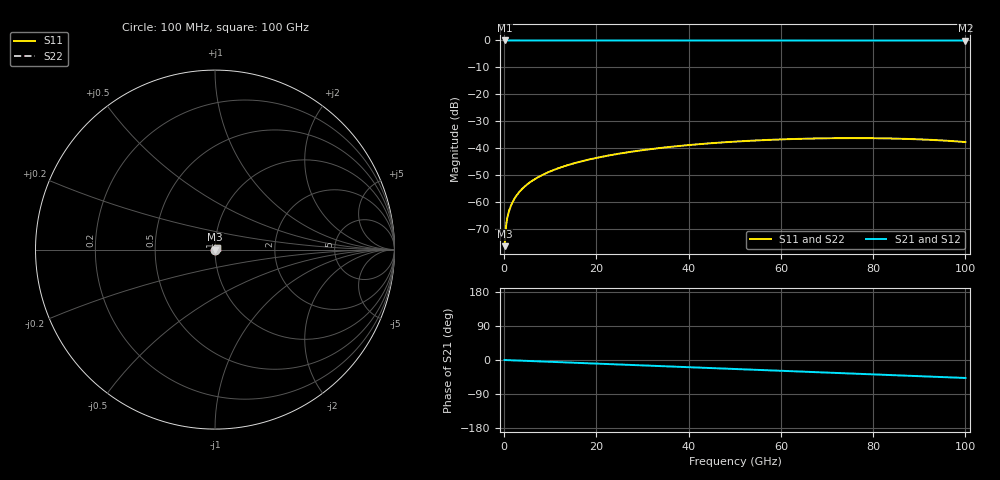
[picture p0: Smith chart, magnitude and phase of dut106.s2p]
! Touchstone file exported from HFSS 2026.1.0
!  File:  C:/ffzhzh/LocalFiles/Ansys_Project_Files/temp_train_TSV_106_1783505857_31944.aedt
!  Generated:  06:18:53 PM Jul  8, 2026
!  Design:  TSV
!  Project:  temp_train_TSV_106_1783505857_31944
! Variables:
!  h_bsmrdl = 2um
!  h_ox = 20um
!  h_rdl = 5um
!  h_sub = 96.7um
!  h_tmrdl = 5um
!  h_tsv = 96.7um
!  h_via = 3um
!  l_bsmrdl = 300um
!  l_sub = 422.16um
!  l_tmrdl = 200um
!  m_sub = 200um
!  pitch = 46.87um
!  r_tsv = 11.08um
!  s_tmrdl = 10um
!  w_bsmrdl = 18um
!  w_sub = 500um
!  w_tmrdl = 12um
!  x_tsv_center1 = 206um
!  x_tsv_center2 = 524um
!  x_tsv_center3 = 736um
!  x_tsv_center4 = 1054um
!  x_tsv_center5 = 1266um
!  x_tsv_center6 = 1584um
# GHz S MA R 50.000000
! Terminal data exported
! Port[1] = TSV1_1_T1
! Port[2] = TSV1_1_T2
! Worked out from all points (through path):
!   1000 points, 100 MHz to 100 GHz, reference 50 ohm
!   highest |S21| = 0.00 dB at 100 MHz (marker M1); lowest = 0.0 dB at 100 GHz (marker M2)
!   group delay of S21, straight-line fit = 1.32 ps
!   lowest |S11| = -76.5 dB at 100 MHz (marker M3), VSWR 1.00, Z = 50 + j0.00813 ohm
!   |S11| at or under -10 dB: start of sweep to end of sweep
!   |S22| runs from -76.5 to -36.3 dB; largest |S21 - S12| = 8.2e-15
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0.1  0.0001496 32.9  0.9999 -0.1  0.9999 -0.1  0.0001496 32.9
! Gamma 0 0 0 0
! Port Impedance 50 0 50 0
0.4  0.0003451 56.8  0.9998 -0.2  0.9998 -0.2  0.0003451 56.8
0.8  0.000558 59.8  0.9997 -0.4  0.9997 -0.4  0.000558 59.8
1  0.0006472 60.7  0.9997 -0.5  0.9997 -0.5  0.0006472 60.7
1.3  0.000773 62.1  0.9996 -0.6  0.9996 -0.6  0.000773 62.1
1.8  0.000973 64.0  0.9996 -0.9  0.9996 -0.9  0.000973 64.0
2.4  0.001203 65.5  0.9995 -1.2  0.9995 -1.2  0.001203 65.5
3.1  0.001459 66.6  0.9995 -1.5  0.9995 -1.5  0.001459 66.6
3.9  0.001738 67.5  0.9994 -1.9  0.9994 -1.9  0.001738 67.5
4.9  0.002073 68.3  0.9993 -2.3  0.9993 -2.3  0.002073 68.3
6.1  0.002464 69.0  0.9992 -2.9  0.9992 -2.9  0.002463 69.0
8.9  0.003346 69.7  0.9991 -4.2  0.9991 -4.2  0.003346 69.7
12.5  0.004426 69.5  0.9989 -5.9  0.9989 -5.9  0.004426 69.6
16.8  0.005663 68.9  0.9987 -8.0  0.9987 -8.0  0.005663 68.9
24.3  0.007693 66.9  0.9984 -11.5  0.9984 -11.5  0.007692 67.0
33.4  0.009917 63.7  0.9981 -15.8  0.9981 -15.8  0.009915 63.8
41.4  0.01162 60.6  0.9979 -19.6  0.9979 -19.6  0.01162 60.6
50.1  0.01317 56.8  0.9977 -23.7  0.9977 -23.7  0.01316 57.0
66.7  0.01501 49.2  0.9973 -31.6  0.9973 -31.6  0.015 49.4
83.4  0.01507 40.8  0.9969 -39.5  0.9969 -39.5  0.01505 41.1
91.9  0.01427 36.1  0.9967 -43.6  0.9967 -43.6  0.01425 36.5
100  0.01292 31.3  0.9964 -47.4  0.9964 -47.4  0.0129 31.8
